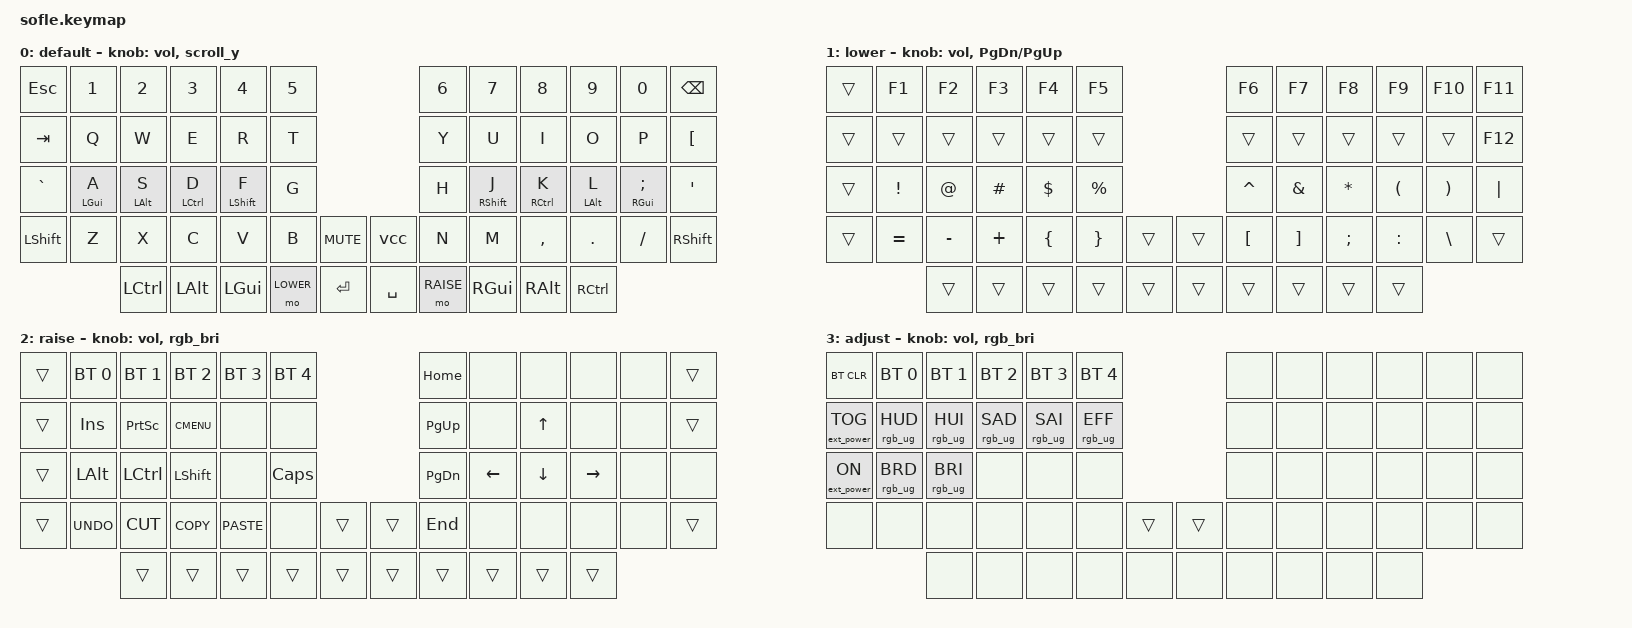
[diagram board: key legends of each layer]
/*
 * Copyright (c) 2020 The ZMK Contributors
 *
 * SPDX-License-Identifier: MIT
 */

#include <behaviors.dtsi>
#include <dt-bindings/zmk/bt.h>
#include <dt-bindings/zmk/ext_power.h>
#include <dt-bindings/zmk/keys.h>
#include <dt-bindings/zmk/pointing.h>
#include <dt-bindings/zmk/rgb.h>
#include "zmk-helpers/helper.h"
#include "zmk-helpers/key-labels/sofle.h"

#define KEYS_L LN0 LN1 LN2 LN3 LN4 LN5 LT0 LT1 LT2 LT3 LT4 LT5 LM0 LM1 LM2 LM3 LM4 LM5 LB0 LB1 LB2 LB3 LB4 LB5
#define KEYS_R RN0 RN1 RN2 RN3 RN4 RN5 RT0 RT1 RT2 RT3 RT4 RT5 RM0 RM1 RM2 RM3 RM4 RM5 RB0 RB1 RB2 RB3 RB4 RB5
#define THUMBS LH4 LH3 LH2 LH1 LH0 RH0 RH1 RH2 RH3 RH4
#define BASE 0
#define LOWER 1
#define RAISE 2
#define ADJUST 3

/ {
    macros {
        vcc: vcc {
            compatible = "zmk,behavior-macro";
            #binding-cells = <0>;

            // bindings = <&ext_power EP_TOG &rgb_ug RGB_ON>;

            bindings = <&rgb_ug RGB_TOG>;
        };
    };

    behaviors {
        /* Left-hand HRMs. */

        hml: homerow_mods_left {
            compatible = "zmk,behavior-hold-tap";
            flavor = "balanced";
            tapping-term-ms = <280>;
            quick-tap-ms = <175>;
            require-prior-idle-ms = <150>;
            #binding-cells = <2>;
            bindings = <&kp>, <&kp>;

            hold-trigger-key-positions = <KEYS_R THUMBS>;
            hold-trigger-on-release;
        };

        /* Right-hand HRMs. */

        hmr: homerow_mods_right {
            compatible = "zmk,behavior-hold-tap";
            flavor = "balanced";
            tapping-term-ms = <280>;
            quick-tap-ms = <175>;
            require-prior-idle-ms = <150>;
            #binding-cells = <2>;
            bindings = <&kp>, <&kp>;

            hold-trigger-key-positions = <KEYS_L THUMBS>;
            hold-trigger-on-release;
        };

        rgb_bri: rgb_bri {
            compatible = "zmk,behavior-sensor-rotate";
            #sensor-binding-cells = <0>;
            bindings = <&rgb_ug RGB_BRI>, <&rgb_ug RGB_BRD>;
        };

        vol: vol {
            compatible = "zmk,behavior-sensor-rotate";
            #sensor-binding-cells = <0>;
            bindings = <&kp C_VOL_UP>, <&kp C_VOL_DN>;
        };

        scroll_y: scroll_y {
            compatible = "zmk,behavior-sensor-rotate";
            #sensor-binding-cells = <0>;
            bindings = <&msc MOVE_UP>, <&msc MOVE_DOWN>;

            tap-ms = <20>;
        };

        scroll_x: scroll_x {
            compatible = "zmk,behavior-sensor-rotate";
            #sensor-binding-cells = <0>;
            bindings = <&msc MOVE_RIGHT>, <&msc MOVE_LEFT>;

            tap-ms = <20>;
        };
    };

    // Activate ADJUST layer by pressing raise and lower

    conditional_layers {
        compatible = "zmk,conditional-layers";

        adjust_layer {
            if-layers = <LOWER RAISE>;
            then-layer = <ADJUST>;
        };
    };

    keymap {
        compatible = "zmk,keymap";

        default_layer {
            display-name = "default";

            // ------------------------------------------------------------------------------------------------------------
            // |  ESC  |  1  |  2  |  3   |  4   |  5   |                   |  6   |  7    |  8    |  9   |   0   | BKSPC |
            // |  TAB  |  Q  |  W  |  E   |  R   |  T   |                   |  Y   |  U    |  I    |  O   |   P   | BKSPC |
            // | GRAVE |  A  |  S  |  D   |  F   |  G   |                   |  H   |  J    |  K    |  L   |   ;   |   '   |
            // | SHIFT |  Z  |  X  |  C   |  V   |  B   |  MUTE  |  |       |  N   |  M    |  ,    |  .   |   /   | SHIFT |
            //               | GUI | ALT  | CTRL | LOWER|  ENTER |  | SPACE | RAISE| CTRL  | ALT   | GUI  |

            bindings = <
&kp ESC    &kp N1       &kp N2       &kp N3        &kp N4        &kp N5                              &kp N6     &kp N7        &kp N8        &kp N9       &kp N0          &kp BSPC
&kp TAB    &kp Q        &kp W        &kp E         &kp R         &kp T                               &kp Y      &kp U         &kp I         &kp O        &kp P           &kp LBKT
&kp GRAVE  &hml LGUI A  &hml LALT S  &hml LCTRL D  &hml LSHFT F  &kp G                               &kp H      &hmr RSHFT J  &hmr RCTRL K  &hmr LALT L  &hmr RGUI SEMI  &kp SQT
&kp LSHFT  &kp Z        &kp X        &kp C         &kp V         &kp B      &kp C_MUTE    &vcc       &kp N      &kp M         &kp COMMA     &kp DOT      &kp FSLH        &kp RSHFT
                        &kp LCTRL    &kp LALT      &kp LGUI      &mo LOWER  &kp RET       &kp SPACE  &mo RAISE  &kp RGUI      &kp RALT      &kp RCTRL
            >;

            sensor-bindings = <&vol &scroll_y>;
        };

        lower_layer {
            display-name = "lower";

            // TODO: Some binds are waiting for shifted keycode support.
            // ------------------------------------------------------------------------------------------------------------
            // |       |  F1 |  F2 |  F3  |  F4  |  F5  |                   |  F6  |  F7   |  F8   |  F9  |  F10  |  F11  |
            // |       |  1  |  2  |  3   |  4   |  5   |                   |  6   |  7    |  8    |  9   |   0   |  F12  |
            // |       |  !  |  @  |  #   |  $   |  %   |                   |  ^   |  &    |  *    |  (   |   )   |   |   |
            // |       |  =  |  -  |  +   |  {   |  }   |        |  |       |  [   |  ]    |  ;    |  :   |   \   |       |
            //               |     |      |      |      |        |  |       |      |       |       |      |

            bindings = <
&trans  &kp F1     &kp F2     &kp F3    &kp F4    &kp F5                       &kp F6     &kp F7    &kp F8     &kp F9     &kp F10   &kp F11
&trans  &trans     &trans     &trans    &trans    &trans                       &trans     &trans    &trans     &trans     &trans    &kp F12
&trans  &kp EXCL   &kp AT     &kp HASH  &kp DLLR  &kp PRCNT                    &kp CARET  &kp AMPS  &kp ASTRK  &kp LPAR   &kp RPAR  &kp PIPE
&trans  &kp EQUAL  &kp MINUS  &kp PLUS  &kp LBRC  &kp RBRC   &trans    &trans  &kp LBKT   &kp RBKT  &kp SEMI   &kp COLON  &kp BSLH  &trans
                   &trans     &trans    &trans    &trans     &trans    &trans  &trans     &trans    &trans     &trans
            >;

            sensor-bindings = <&vol &inc_dec_kp PG_DN PG_UP>;
        };

        raise_layer {
            display-name = "raise";

            // ------------------------------------------------------------------------------------------------------------
            // | BTCLR | BT1  | BT2  |  BT3  |  BT4  |  BT5 |                |      |      |       |      |       |       |
            // |       | INS  | PSCR | GUI   |       |      |                | PGUP |      |   ^   |      |       |       |
            // |       | ALT  | CTRL | SHIFT |       | CAPS |                | PGDN |   <- |   v   |  ->  |  DEL  | BKSPC |
            // |       | UNDO | CUT  | COPY  | PASTE |      |      |  |      |      |      |       |      |       |       |
            //                |      |       |       |      |      |  |      |      |      |       |      |

            bindings = <
&trans  &bt BT_SEL 0  &bt BT_SEL 1  &bt BT_SEL 2  &bt BT_SEL 3  &bt BT_SEL 4                    &kp HOME   &none     &none     &none      &none  &trans
&trans  &kp INS       &kp PSCRN     &kp K_CMENU   &none         &none                           &kp PG_UP  &none     &kp UP    &none      &none  &trans
&trans  &kp LALT      &kp LCTRL     &kp LSHFT     &none         &kp CLCK                        &kp PG_DN  &kp LEFT  &kp DOWN  &kp RIGHT  &none  &none
&trans  &kp K_UNDO    &kp K_CUT     &kp K_COPY    &kp K_PASTE   &none         &trans    &trans  &kp END    &none     &none     &none      &none  &trans
                      &trans        &trans        &trans        &trans        &trans    &trans  &trans     &trans    &trans    &trans
            >;

            sensor-bindings = <&vol &rgb_bri>;
        };

        adjust_layer {
            // ----------------------------------------------------------------------------------------------------------------------------
            // | BTCLR  |  BT1    |  BT2    |   BT3   |   BT4   |   BT5   |                  |      |      |       |      |       |       |
            // | EXTPWR | RGB_HUD | RGB_HUI | RGB_SAD | RGB_SAI | RGB_EFF |                  |      |      |       |      |       |       |
            // |        | RGB_BRD | RGB_BRI |         |         |         |                  |      |      |       |      |       |       |
            // |        |         |         |         |         |         | RGB_TOG | |      |      |      |       |      |       |       |
            //                    |         |         |         |         |         | |      |      |      |       |      |

            display-name = "adjust";
            bindings = <
&bt BT_CLR         &bt BT_SEL 0     &bt BT_SEL 1     &bt BT_SEL 2     &bt BT_SEL 3     &bt BT_SEL 4                       &none  &none  &none  &none  &none  &none
&ext_power EP_TOG  &rgb_ug RGB_HUD  &rgb_ug RGB_HUI  &rgb_ug RGB_SAD  &rgb_ug RGB_SAI  &rgb_ug RGB_EFF                    &none  &none  &none  &none  &none  &none
&ext_power EP_ON   &rgb_ug RGB_BRD  &rgb_ug RGB_BRI  &none            &none            &none                              &none  &none  &none  &none  &none  &none
&none              &none            &none            &none            &none            &none            &trans    &trans  &none  &none  &none  &none  &none  &none
                                    &none            &none            &none            &none            &none     &none   &none  &none  &none  &none
            >;

            sensor-bindings = <&vol &rgb_bri>;
        };
    };
};

&left_encoder {
    a-gpios = <&pro_micro 20 (GPIO_ACTIVE_HIGH | GPIO_PULL_UP)>;
    b-gpios = <&pro_micro 21 (GPIO_ACTIVE_HIGH | GPIO_PULL_UP)>;
};

&right_encoder {
    a-gpios = <&pro_micro 21 (GPIO_ACTIVE_HIGH | GPIO_PULL_UP)>;
    b-gpios = <&pro_micro 20 (GPIO_ACTIVE_HIGH | GPIO_PULL_UP)>;
};
